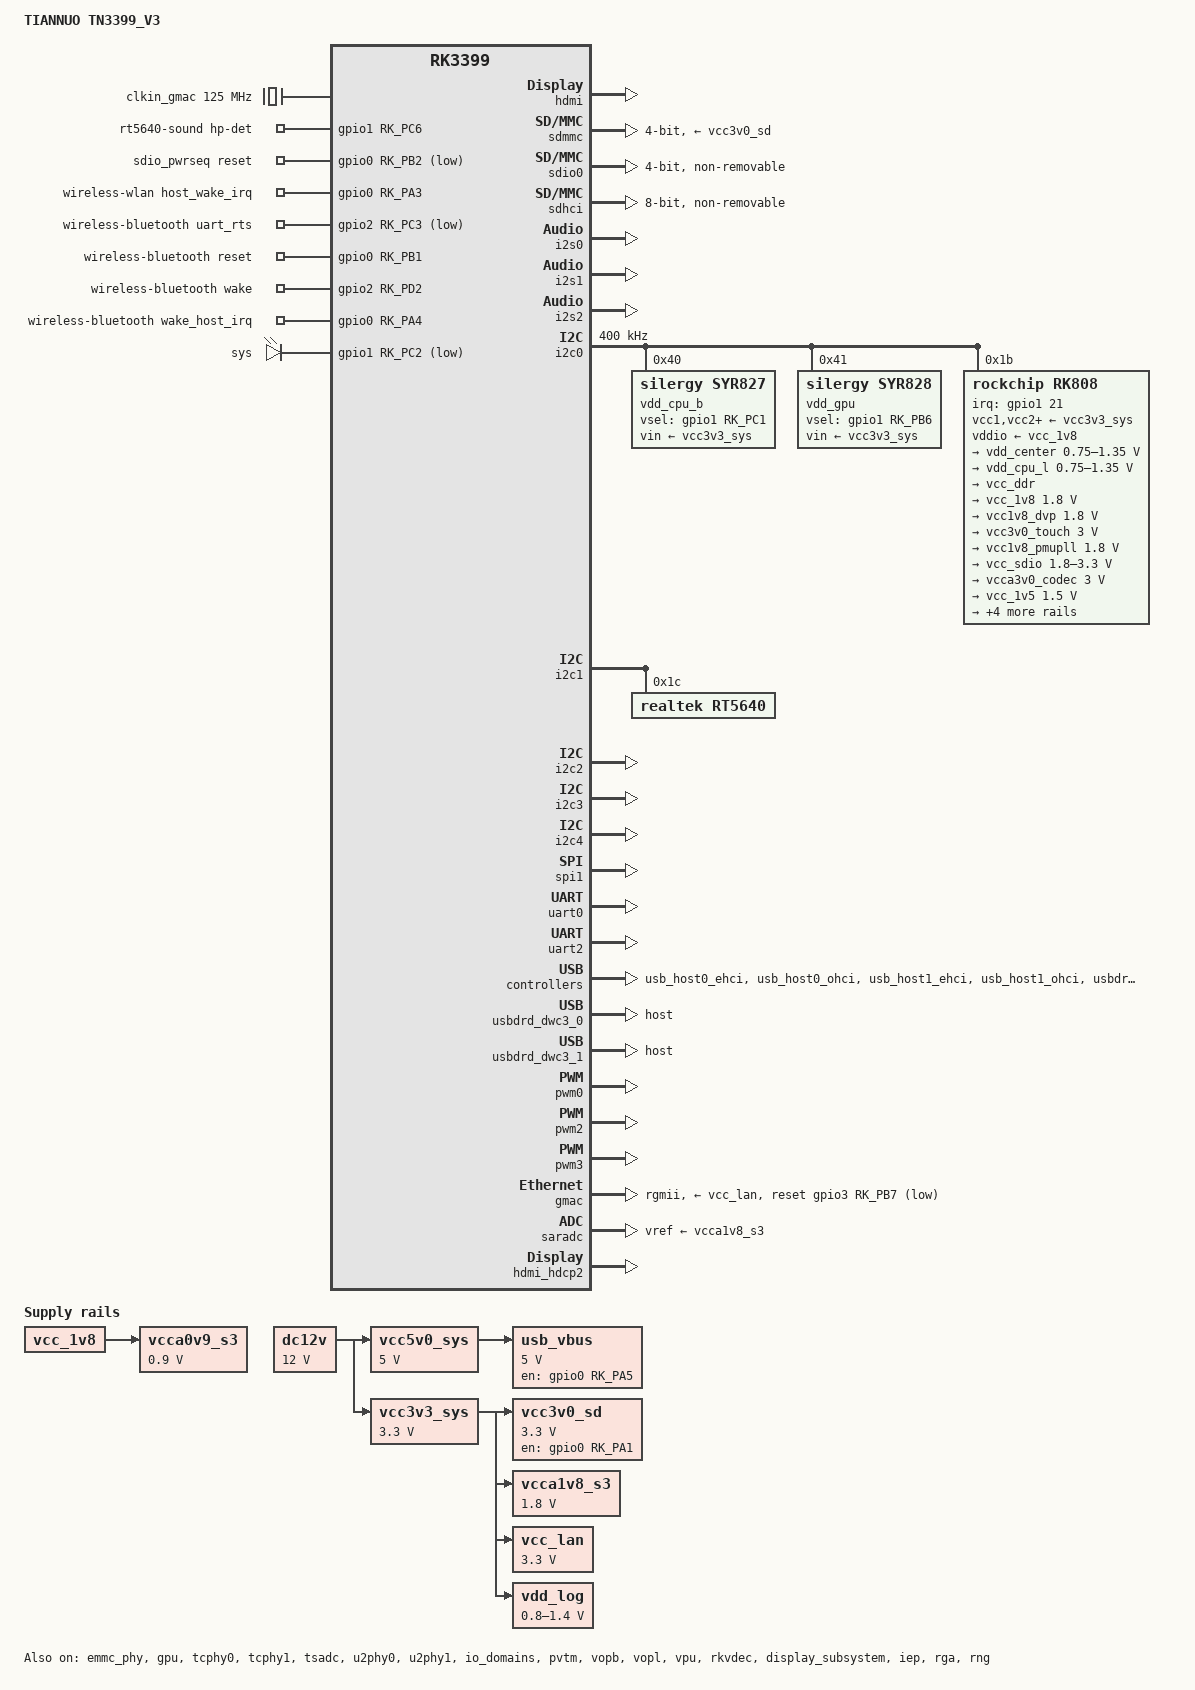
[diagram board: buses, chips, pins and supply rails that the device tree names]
// SPDX-License-Identifier: (GPL-2.0+ OR MIT)
/*
 * dts from https://github.com/retro98boy/linux-tn3399_v3
 */

/dts-v1/;

#include <dt-bindings/pwm/pwm.h>
#include <dt-bindings/input/input.h>
#include "rk3399.dtsi"
#include "rk3399-linux.dtsi"
#include "rk3399-opp.dtsi"

/ {
	model = "TIANNUO TN3399_V3";
	compatible = "tiannuo,tn3399-v3", "rockchip,rk3399";

	chosen {
		bootargs = "earlyprintk=uart8250,mmio32,0xff1a0000 swiotlb=1";
		stdout-path = "serial2:1500000n8";
	};

	dc12v: dc12v {
		compatible = "regulator-fixed";
		regulator-name = "dc12v";
		regulator-always-on;
		regulator-boot-on;
		regulator-min-microvolt = <12000000>;
		regulator-max-microvolt = <12000000>;
	};

	vcc5v0_sys: vcc5v0-sys {
		compatible = "regulator-fixed";
		regulator-name = "vcc5v0_sys";
		regulator-always-on;
		regulator-boot-on;
		regulator-min-microvolt = <5000000>;
		regulator-max-microvolt = <5000000>;
		vin-supply = <&dc12v>;
	};

	usb_vbus: usb-vbus {
		compatible = "regulator-fixed";
		enable-active-high;
		gpio = <&gpio0 RK_PA5 GPIO_ACTIVE_HIGH>;
		pinctrl-names = "default";
		pinctrl-0 = <&vcc5v0_typec0_en>;
		regulator-name = "usb_vbus";
		regulator-always-on;
		regulator-boot-on;
		regulator-min-microvolt = <5000000>;
		regulator-max-microvolt = <5000000>;
		vin-supply = <&vcc5v0_sys>;
	};

	vcc3v3_sys: vcc3v3-sys {
		compatible = "regulator-fixed";
		regulator-name = "vcc3v3_sys";
		regulator-always-on;
		regulator-boot-on;
		regulator-min-microvolt = <3300000>;
		regulator-max-microvolt = <3300000>;
		vin-supply = <&dc12v>;
	};

	vcc3v0_sd: vcc3v0-sd {
		compatible = "regulator-fixed";
		enable-active-high;
		gpio = <&gpio0 RK_PA1 GPIO_ACTIVE_HIGH>;
		pinctrl-names = "default";
		pinctrl-0 = <&sdmmc0_pwr_h>;
		regulator-name = "vcc3v0_sd";
		regulator-always-on;
		regulator-boot-on;
		regulator-min-microvolt = <3300000>;
		regulator-max-microvolt = <3300000>;
		vin-supply = <&vcc3v3_sys>;
	};

	vcca1v8_s3: vcca1v8-s3 {
		compatible = "regulator-fixed";
		regulator-name = "vcca1v8_s3";
		regulator-always-on;
		regulator-boot-on;
		regulator-min-microvolt = <1800000>;
		regulator-max-microvolt = <1800000>;
		vin-supply = <&vcc3v3_sys>;
	};

	vcca0v9_s3: vcca0v9-s3 {
		compatible = "regulator-fixed";
		regulator-name = "vcca0v9_s3";
		regulator-always-on;
		regulator-boot-on;
		regulator-min-microvolt = <900000>;
		regulator-max-microvolt = <900000>;
		vin-supply = <&vcc_1v8>;
	};

	vcc_lan: vcc-lan {
		compatible = "regulator-fixed";
		regulator-name = "vcc_lan";
		regulator-always-on;
		regulator-boot-on;
		regulator-min-microvolt = <3300000>;
		regulator-max-microvolt = <3300000>;
		vin-supply = <&vcc3v3_sys>;
	};

	vdd_log: vdd-log {
		compatible = "pwm-regulator";
		pwms = <&pwm2 0 25000 1>;
		regulator-name = "vdd_log";
		regulator-min-microvolt = <800000>;
		regulator-max-microvolt = <1400000>;
		regulator-always-on;
		regulator-boot-on;

		/* for rockchip boot on */
		rockchip,pwm_id= <2>;
		rockchip,pwm_voltage = <900000>;

		vin-supply = <&vcc3v3_sys>;
	};

	clkin_gmac: external-gmac-clock {
		compatible = "fixed-clock";
		clock-frequency = <125000000>;
		clock-output-names = "clkin_gmac";
		#clock-cells = <0>;
	};

	rt5640-sound {
		compatible = "simple-audio-card";
		pinctrl-names = "default";
		pinctrl-0 = <&hp_det>;
		simple-audio-card,name = "rockchip,rt5640-codec";
		simple-audio-card,format = "i2s";
		simple-audio-card,mclk-fs = <256>;
		simple-audio-card,widgets =
			"Microphone", "Internal Microphone",
			"Headphone", "Headphones",
			"Speaker", "Internal Speakers";
		simple-audio-card,routing =
			"Internal Microphone", "MICBIAS1",
			"IN1P", "Internal Microphone",
			"IN1N", "Internal Microphone",
			"Headphones", "HPOL",
			"Headphones", "HPOR",
			"Internal Speakers", "SPOLP",
			"Internal Speakers", "SPOLN",
			"Internal Speakers", "SPORP",
			"Internal Speakers", "SPORN";
		simple-audio-card,hp-det-gpio = <&gpio1 RK_PC6 GPIO_ACTIVE_HIGH>;

		simple-audio-card,cpu {
			sound-dai = <&i2s1>;
		};

		simple-audio-card,codec {
			sound-dai = <&rt5640>;
		};
	};

	hdmi_sound: hdmi-sound {
		compatible = "simple-audio-card";
		simple-audio-card,format = "i2s";
		simple-audio-card,mclk-fs = <256>;
		simple-audio-card,name = "rockchip,hdmi";

		simple-audio-card,cpu {
			sound-dai = <&i2s2>;
		};

		simple-audio-card,codec {
			sound-dai = <&hdmi>;
		};
	};

	sdio_pwrseq: sdio-pwrseq {
		compatible = "mmc-pwrseq-simple";
		clocks = <&rk808 1>;
		clock-names = "ext_clock";
		pinctrl-names = "default";
		pinctrl-0 = <&wifi_enable_h>;

		/*
		 * On the module itself this is one of these (depending
		 * on the actual card populated):
		 * - SDIO_RESET_L_WL_REG_ON
		 * - PDN (power down when low)
		 */
		reset-gpios = <&gpio0 RK_PB2 GPIO_ACTIVE_LOW>;
	};

	wireless-wlan {
		compatible = "wlan-platdata";
		rockchip,grf = <&grf>;
		wifi_chip_type = "ap6255";
		sdio_vref = <1800>;
		WIFI,host_wake_irq = <&gpio0 RK_PA3 GPIO_ACTIVE_HIGH>;
	};

	wireless-bluetooth {
		compatible = "bluetooth-platdata";
		clocks = <&rk808 1>;
		clock-names = "ext_clock";
		uart_rts_gpios = <&gpio2 RK_PC3 GPIO_ACTIVE_LOW>;
		pinctrl-names = "default", "rts_gpio";
		pinctrl-0 = <&uart0_rts>;
		pinctrl-1 = <&uart0_gpios>;
		BT,reset_gpio    = <&gpio0 RK_PB1 GPIO_ACTIVE_HIGH>;
		BT,wake_gpio     = <&gpio2 RK_PD2 GPIO_ACTIVE_HIGH>;
		BT,wake_host_irq = <&gpio0 RK_PA4 GPIO_ACTIVE_HIGH>;
	};

	leds {
		compatible = "gpio-leds";
		pinctrl-names = "default";
		pinctrl-0 = <&sys_led>;

		sys-led {
			label = "sys";
			gpios = <&gpio1 RK_PC2 GPIO_ACTIVE_LOW>;
			linux,default-trigger = "heartbeat";
		};
	};
};

&hdmi {
	#address-cells = <1>;
	#size-cells = <0>;
	#sound-dai-cells = <0>;
	status = "okay";
};

&sdmmc {
	supports-sd;
	bus-width = <4>;
	cap-mmc-highspeed;
	cap-sd-highspeed;
	disable-wp;
	num-slots = <1>;
	sd-uhs-sdr104;
	vmmc-supply = <&vcc3v0_sd>;
	vqmmc-supply = <&vcc_sdio>;
	pinctrl-names = "default";
	pinctrl-0 = <&sdmmc_clk &sdmmc_cmd &sdmmc_cd &sdmmc_bus4>;
	card-detect-delay = <800>;
	status = "okay";
};

&sdio0 {
	max-frequency = <200000000>;
	supports-sdio;
	bus-width = <4>;
	disable-wp;
	cap-sd-highspeed;
	cap-sdio-irq;
	keep-power-in-suspend;
	mmc-pwrseq = <&sdio_pwrseq>;
	non-removable;
	num-slots = <1>;
	pinctrl-names = "default";
	pinctrl-0 = <&sdio0_bus4 &sdio0_cmd &sdio0_clk>;
	sd-uhs-sdr104;
	status = "okay";
};

&emmc_phy {
	status = "okay";
};

&sdhci {
	max-frequency = <150000000>;
	bus-width = <8>;
	mmc-hs400-1_8v;
	supports-emmc;
	non-removable;
	mmc-hs400-enhanced-strobe;
	status = "okay";
};

&i2s0 {
	#sound-dai-cells = <0>;
	status = "okay";
};

&i2s1 {
	rockchip,i2s-broken-burst-len;
	rockchip,playback-channels = <2>;
	rockchip,capture-channels = <2>;
	#sound-dai-cells = <0>;
	status = "okay";
};

&i2s2 {
	#sound-dai-cells = <0>;
	status = "okay";
};

&i2c0 {
	i2c-scl-rising-time-ns = <168>;
	i2c-scl-falling-time-ns = <4>;
	clock-frequency = <400000>;
	status = "okay";

	vdd_cpu_b: syr827@40 {
		compatible = "silergy,syr827";
		reg = <0x40>;
		regulator-compatible = "fan53555-reg";
		pinctrl-0 = <&vsel1_gpio>;
		vsel-gpios = <&gpio1 RK_PC1 GPIO_ACTIVE_HIGH>;
		regulator-name = "vdd_cpu_b";
		regulator-min-microvolt = <712500>;
		regulator-max-microvolt = <1500000>;
		regulator-ramp-delay = <1000>;
		fcs,suspend-voltage-selector = <1>;
		regulator-always-on;
		regulator-boot-on;
		vin-supply = <&vcc3v3_sys>;
		regulator-state-mem {
			regulator-off-in-suspend;
		};
	};

	vdd_gpu: syr828@41 {
		compatible = "silergy,syr828";
		reg = <0x41>;
		regulator-compatible = "fan53555-reg";
		pinctrl-0 = <&vsel2_gpio>;
		vsel-gpios = <&gpio1 RK_PB6 GPIO_ACTIVE_HIGH>;
		regulator-name = "vdd_gpu";
		regulator-min-microvolt = <712500>;
		regulator-max-microvolt = <1500000>;
		regulator-ramp-delay = <1000>;
		fcs,suspend-voltage-selector = <1>;
		regulator-always-on;
		regulator-boot-on;
		vin-supply = <&vcc3v3_sys>;
		regulator-initial-mode = <1>; /* 1:force PWM 2:auto */
		regulator-state-mem {
			regulator-off-in-suspend;
		};
	};

	rk808: pmic@1b {
		compatible = "rockchip,rk808";
		reg = <0x1b>;
		interrupt-parent = <&gpio1>;
		interrupts = <21 IRQ_TYPE_LEVEL_LOW>;
		pinctrl-names = "default";
		pinctrl-0 = <&pmic_int_l>;
		rockchip,system-power-controller;
		wakeup-source;
		#clock-cells = <1>;
		clock-output-names = "xin32k", "rk808-clkout2";

		vcc1-supply = <&vcc3v3_sys>;
		vcc2-supply = <&vcc3v3_sys>;
		vcc3-supply = <&vcc3v3_sys>;
		vcc4-supply = <&vcc3v3_sys>;
		vcc6-supply = <&vcc3v3_sys>;
		vcc7-supply = <&vcc3v3_sys>;
		vcc8-supply = <&vcc3v3_sys>;
		vcc9-supply = <&vcc3v3_sys>;
		vcc10-supply = <&vcc3v3_sys>;
		vcc11-supply = <&vcc3v3_sys>;
		vcc12-supply = <&vcc3v3_sys>;
		vddio-supply = <&vcc_1v8>;

		regulators {
			vdd_center: DCDC_REG1 {
				regulator-name = "vdd_center";
				regulator-min-microvolt = <750000>;
				regulator-max-microvolt = <1350000>;
				regulator-ramp-delay = <6001>;
				regulator-always-on;
				regulator-boot-on;
				regulator-state-mem {
					regulator-off-in-suspend;
				};
			};

			vdd_cpu_l: DCDC_REG2 {
				regulator-name = "vdd_cpu_l";
				regulator-min-microvolt = <750000>;
				regulator-max-microvolt = <1350000>;
				regulator-ramp-delay = <6001>;
				regulator-always-on;
				regulator-boot-on;
				regulator-state-mem {
					regulator-off-in-suspend;
				};
			};

			vcc_ddr: DCDC_REG3 {
				regulator-name = "vcc_ddr";
				regulator-always-on;
				regulator-boot-on;
				regulator-state-mem {
					regulator-on-in-suspend;
				};
			};

			vcc_1v8: DCDC_REG4 {
				regulator-name = "vcc_1v8";
				regulator-min-microvolt = <1800000>;
				regulator-max-microvolt = <1800000>;
				regulator-always-on;
				regulator-boot-on;
				regulator-state-mem {
					regulator-on-in-suspend;
					regulator-suspend-microvolt = <1800000>;
				};
			};

			vcc1v8_dvp: LDO_REG1 {
				regulator-name = "vcc1v8_dvp";
				regulator-min-microvolt = <1800000>;
				regulator-max-microvolt = <1800000>;
				regulator-always-on;
				regulator-boot-on;
				regulator-state-mem {
					regulator-off-in-suspend;
				};
			};

			vcc3v0_touch: LDO_REG2 {
				regulator-name = "vcc3v0_touch";
				regulator-min-microvolt = <3000000>;
				regulator-max-microvolt = <3000000>;
				regulator-always-on;
				regulator-boot-on;
				regulator-state-mem {
					regulator-off-in-suspend;
				};
			};

			vcc1v8_pmupll: LDO_REG3 {
				regulator-name = "vcc1v8_pmupll";
				regulator-min-microvolt = <1800000>;
				regulator-max-microvolt = <1800000>;
				regulator-always-on;
				regulator-boot-on;
				regulator-state-mem {
					regulator-on-in-suspend;
					regulator-suspend-microvolt = <1800000>;
				};
			};

			vcc_sdio: LDO_REG4 {
				regulator-name = "vcc_sdio";
				regulator-min-microvolt = <1800000>;
				regulator-max-microvolt = <3300000>;
				regulator-always-on;
				regulator-boot-on;
				regulator-state-mem {
					regulator-on-in-suspend;
					regulator-suspend-microvolt = <3300000>;
				};
			};

			vcca3v0_codec: LDO_REG5 {
				regulator-name = "vcca3v0_codec";
				regulator-min-microvolt = <3000000>;
				regulator-max-microvolt = <3000000>;
				regulator-always-on;
				regulator-boot-on;
				regulator-state-mem {
					regulator-off-in-suspend;
				};
			};

			vcc_1v5: LDO_REG6 {
				regulator-name = "vcc_1v5";
				regulator-min-microvolt = <1500000>;
				regulator-max-microvolt = <1500000>;
				regulator-always-on;
				regulator-boot-on;
				regulator-state-mem {
					regulator-on-in-suspend;
					regulator-suspend-microvolt = <1500000>;
				};
			};

			vcca1v8_codec: LDO_REG7 {
				regulator-name = "vcca1v8_codec";
				regulator-min-microvolt = <1800000>;
				regulator-max-microvolt = <1800000>;
				regulator-always-on;
				regulator-boot-on;
				regulator-state-mem {
					regulator-off-in-suspend;
				};
			};

			vcc_3v0: LDO_REG8 {
				regulator-name = "vcc_3v0";
				regulator-min-microvolt = <3000000>;
				regulator-max-microvolt = <3000000>;
				regulator-always-on;
				regulator-boot-on;
				regulator-state-mem {
					regulator-on-in-suspend;
					regulator-suspend-microvolt = <3000000>;
				};
			};

			vcc3v3_s3: SWITCH_REG1 {
				regulator-name = "vcc3v3_s3";
				regulator-always-on;
				regulator-boot-on;
				regulator-state-mem {
					regulator-on-in-suspend;
				};
			};

			vcc3v3_s0: SWITCH_REG2 {
				regulator-name = "vcc3v3_s0";
				regulator-always-on;
				regulator-boot-on;
				regulator-state-mem {
					regulator-off-in-suspend;
				};
			};
		};
	};
};

&i2c1 {
	i2c-scl-rising-time-ns = <300>;
	i2c-scl-falling-time-ns = <15>;
	status = "okay";

	rt5640: rt5640@1c {
		compatible = "realtek,rt5640";
		reg = <0x1c>;
		clocks = <&cru SCLK_I2S_8CH_OUT>;
		clock-names = "mclk";
		realtek,in1-differential;
		#sound-dai-cells = <0>;
		pinctrl-names = "default";
		pinctrl-0 = <&ear_ctrl &ns4258_en &i2s_8ch_mclk>;
	};
};

&i2c2 {
	status = "okay";
};

&i2c3 {
	status = "okay";
};

&i2c4 {
	status = "okay";
};

&spi1 {
	status = "okay";
};

&cpu_l0 {
	cpu-supply = <&vdd_cpu_l>;
};

&cpu_l1 {
	cpu-supply = <&vdd_cpu_l>;
};

&cpu_l2 {
	cpu-supply = <&vdd_cpu_l>;
};

&cpu_l3 {
	cpu-supply = <&vdd_cpu_l>;
};

&cpu_b0 {
	cpu-supply = <&vdd_cpu_b>;
};

&cpu_b1 {
	cpu-supply = <&vdd_cpu_b>;
};

&gpu {
	mali-supply = <&vdd_gpu>;
	status = "okay";
};

&threshold {
	temperature = <85000>;
};

&target {
	temperature = <100000>;
};

&soc_crit {
	temperature = <105000>;
};

&tcphy0 {
	status = "okay";
};

&tcphy1 {
	status = "okay";
};

&tsadc {
	/* tshut mode 0:CRU 1:GPIO */
	rockchip,hw-tshut-mode = <1>;
	/* tshut polarity 0:LOW 1:HIGH */
	rockchip,hw-tshut-polarity = <1>;
	rockchip,hw-tshut-temp = <110000>;
	status = "okay";
};

&u2phy0 {
	status = "okay";

	u2phy0_host: host-port {
		phy-supply = <&usb_vbus>;
		status = "okay";
	};
};

&u2phy1 {
	status = "okay";

	u2phy1_host: host-port {
		phy-supply = <&usb_vbus>;
		status = "okay";
	};
};

&uart0 {
	pinctrl-names = "default";
	pinctrl-0 = <&uart0_xfer &uart0_cts>;
	status = "okay";
};

&uart2 {
	status = "okay";
};

&usb_host0_ehci {
	status = "okay";
};

&usb_host0_ohci {
	status = "okay";
};

&usb_host1_ehci {
	status = "okay";
};

&usb_host1_ohci {
	status = "okay";
};

&usbdrd3_0 {
	status = "okay";
};

&usbdrd_dwc3_0 {
	status = "okay";
	dr_mode = "host";
};

&usbdrd3_1 {
	status = "okay";
};

&usbdrd_dwc3_1 {
	status = "okay";
	dr_mode = "host";
};

&pwm0 {
	status = "okay";
};

&pwm2 {
	status = "okay";
};

&pwm3 {
    status = "okay";
};

&gmac {
	phy-supply = <&vcc_lan>;
	phy-mode = "rgmii";
	clock_in_out = "input";
	snps,reset-gpio = <&gpio3 RK_PB7 GPIO_ACTIVE_LOW>;
	snps,reset-active-low;
	snps,reset-delays-us = <0 10000 50000>;
	assigned-clocks = <&cru SCLK_RMII_SRC>;
	assigned-clock-parents = <&clkin_gmac>;
	pinctrl-names = "default", "sleep";
	pinctrl-0 = <&rgmii_pins>;
	pinctrl-1 = <&rgmii_sleep_pins>;
	tx_delay = <0x28>;
	rx_delay = <0x11>;
	status = "okay";
};

&saradc {
	vref-supply = <&vcca1v8_s3>;
	status = "okay";
};

&io_domains {
	bt656-supply = <&vcc1v8_dvp>;
	audio-supply = <&vcca1v8_codec>;
	sdmmc-supply = <&vcc_sdio>;
	gpio1830-supply = <&vcc_3v0>;
	status = "okay";
};

&pinctrl {
	rt5640 {
		ear_ctrl: ear-ctrl {
			rockchip,pins = <4 RK_PC5 RK_FUNC_GPIO &pcfg_output_high>;
		};

		hp_det: hp-det {
			rockchip,pins = <1 RK_PC6 RK_FUNC_GPIO &pcfg_pull_none>;
		};

		ns4258_en: ns4258-en {
			rockchip,pins = <4 RK_PD2 RK_FUNC_GPIO &pcfg_pull_up>;
		};
	};

	leds {
		sys_led: sys-led {
			rockchip,pins =
				<1 RK_PC2 RK_FUNC_GPIO &pcfg_pull_none>;
		};
	};

	sdio-pwrseq {
		wifi_enable_h: wifi-enable-h {
			rockchip,pins =
				<0 RK_PB2 RK_FUNC_GPIO &pcfg_pull_none>;
		};
	};

	wireless-bluetooth {
		uart0_gpios: uart0-gpios {
			rockchip,pins =
				<2 RK_PC3 RK_FUNC_GPIO &pcfg_pull_none>;
		};
	};

	usb2 {
		vcc5v0_typec0_en: vcc5v0-typec0-en {
			rockchip,pins =
				<0 RK_PA5 RK_FUNC_GPIO &pcfg_pull_none>;
		};
	};

	sdmmc {
		sdmmc0_pwr_h: sdmmc0-pwr-h {
			rockchip,pins =
				<0 RK_PA1 RK_FUNC_GPIO &pcfg_pull_none>;
		};
	};

	pmic {
		pmic_int_l: pmic-int-l {
			rockchip,pins =
				<1 RK_PC5 RK_FUNC_GPIO &pcfg_pull_up>;
		};

		vsel1_gpio: vsel1-gpio {
			rockchip,pins =
				<1 RK_PC1 RK_FUNC_GPIO &pcfg_pull_down>;
		};

		vsel2_gpio: vsel2-gpio {
			rockchip,pins =
				<1 RK_PB6 RK_FUNC_GPIO &pcfg_pull_down>;
		};
	};

	gmac {
		rgmii_sleep_pins: rgmii-sleep-pins {
			rockchip,pins =
				<3 RK_PB7 RK_FUNC_GPIO &pcfg_output_low>;
		};
	};
};

&pvtm {
	status = "okay";
};

&pmu_pvtm {
	status = "okay";
};

&pmu_io_domains {
	pmu1830-supply = <&vcc_1v8>;
	status = "okay";
};

&vopb {
	status = "okay";
};

&vopb_mmu {
	status = "okay";
};

&vopl {
	status = "okay";
};

&vopl_mmu {
	status = "okay";
};

&vpu {
	status = "okay";
};

&rkvdec {
	status = "okay";
};

&display_subsystem {
	status = "okay";
};

&iep {
	status = "okay";
};

&iep_mmu {
	status = "okay";
};

&rga {
	status = "okay";
};

&rng {
	status = "okay";
};

&hdmi_hdcp2 {
	status = "okay";
};

